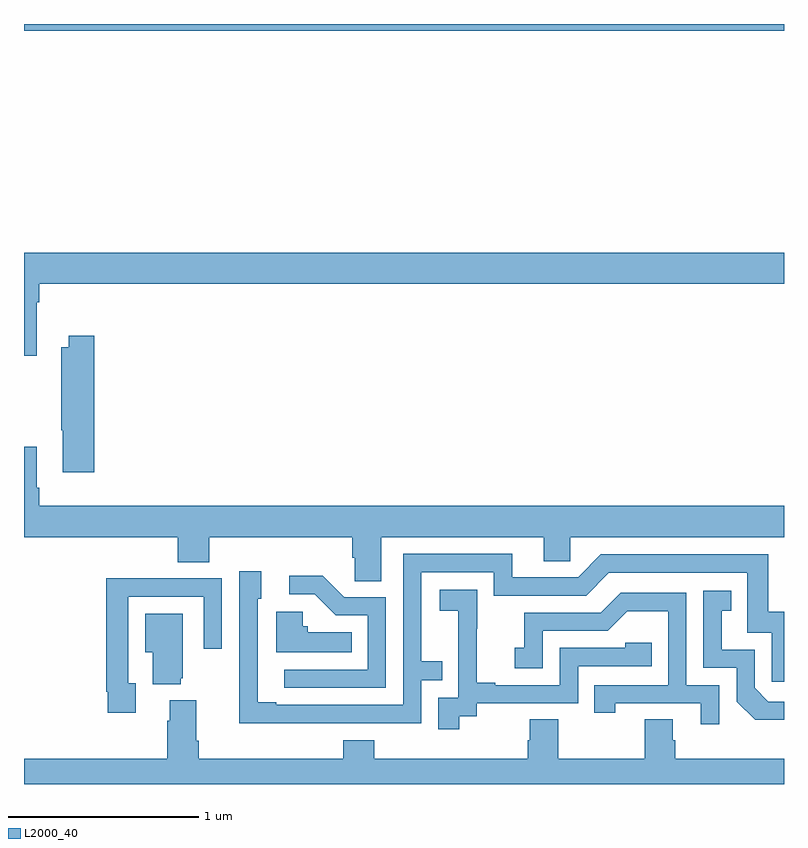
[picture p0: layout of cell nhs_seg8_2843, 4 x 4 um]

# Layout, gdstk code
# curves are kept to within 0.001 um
import gdstk
lib = gdstk.Library(unit=1e-6, precision=1e-09)
def R(c, l, rs):  # rectangles x0, y0, x1, y1
    for r in rs: c.add(gdstk.rectangle(r[:2], r[2:], *l))
def P(c, l, *ps):  # polygons
    for p in ps: c.add(gdstk.Polygon(p, *l))
L2000_40 = (2000, 40)

nhs_seg8_2843 = lib.new_cell('nhs_seg8_2843')
R(nhs_seg8_2843, L2000_40, [(291,1085.864,295,1085.9)])
P(nhs_seg8_2843, L2000_40, [(291.067,1084.436),(291.08,1084.436),(291.08,1084.532),(295,1084.532),(295,1084.696),(291,1084.696),(291,1084.155),(291.067,1084.155)],
  [(291.371,1084.258),(291.236,1084.258),(291.236,1084.198),(291.196,1084.198),(291.196,1083.763),(291.203,1083.763),(291.203,1083.54),(291.371,1083.54)],
  [(292.879,1083.2),(293.735,1083.2),(293.735,1083.073),(293.874,1083.073),(293.874,1083.2),(295,1083.2),(295,1083.364),(291.08,1083.364),(291.08,1083.46),(291.067,1083.46),(291.067,1083.676),(291,1083.676),(291,1083.2),(291.809,1083.2),(291.809,1083.067),(291.974,1083.067),(291.974,1083.2),(292.727,1083.2),(292.727,1083.091),(292.74,1083.091),(292.74,1082.968),(292.879,1082.968)],
  [(292.595,1082.22),(293.091,1082.22),(293.091,1082.445),(293.201,1082.445),(293.201,1082.546),(293.091,1082.546),(293.091,1083.015),(293.472,1083.015),(293.472,1082.892),(293.958,1082.892),(294.078,1083.012),(294.807,1083.012),(294.807,1082.697),(294.936,1082.697),(294.936,1082.439),(295,1082.439),(295,1082.806),(294.916,1082.806),(294.916,1083.108),(294.036,1083.108),(293.916,1082.988),(293.569,1082.988),(293.569,1083.111),(292.995,1083.111),(292.995,1082.316),(292.327,1082.316),(292.327,1082.329),(292.23,1082.329),(292.23,1082.874),(292.249,1082.874),(292.249,1083.019),(292.134,1083.019),(292.134,1082.525),(292.132,1082.525),(292.132,1082.219)],
  [(292.905,1082.883),(292.686,1082.883),(292.573,1082.996),(292.395,1082.996),(292.395,1082.898),(292.529,1082.898),(292.64,1082.787),(292.809,1082.787),(292.809,1082.502),(292.371,1082.502),(292.371,1082.406),(292.905,1082.406)],
  [(291.589,1082.43),(291.549,1082.43),(291.549,1082.886),(291.945,1082.886),(291.945,1082.613),(292.041,1082.613),(292.041,1082.982),(291.725,1082.982),(291.725,1082.984),(291.433,1082.984),(291.433,1082.386),(291.441,1082.386),(291.441,1082.274),(291.589,1082.274)],
  [(293.29,1082.257),(293.382,1082.257),(293.382,1082.325),(293.916,1082.325),(293.916,1082.52),(294.305,1082.52),(294.305,1082.643),(294.165,1082.643),(294.165,1082.616),(293.82,1082.616),(293.82,1082.421),(293.479,1082.421),(293.479,1082.434),(293.384,1082.434),(293.384,1082.717),(293.385,1082.717),(293.385,1082.923),(293.187,1082.923),(293.187,1082.813),(293.285,1082.813),(293.285,1082.585),(293.286,1082.585),(293.286,1082.355),(293.181,1082.355),(293.181,1082.187),(293.29,1082.187)],
  [(295,1082.334),(294.918,1082.334),(294.846,1082.406),(294.846,1082.607),(294.673,1082.607),(294.673,1082.811),(294.722,1082.811),(294.722,1082.917),(294.576,1082.917),(294.576,1082.511),(294.75,1082.511),(294.75,1082.334),(294.848,1082.237),(295,1082.237)],
  [(294.66,1082.421),(294.486,1082.421),(294.486,1082.907),(294.14,1082.907),(294.035,1082.802),(293.632,1082.802),(293.632,1082.617),(293.583,1082.617),(293.583,1082.508),(293.73,1082.508),(293.73,1082.706),(294.072,1082.706),(294.176,1082.81),(294.39,1082.81),(294.39,1082.421),(294.001,1082.421),(294.001,1082.274),(294.112,1082.274),(294.112,1082.325),(294.563,1082.325),(294.563,1082.214),(294.66,1082.214)],
  [(292.724,1082.698),(292.494,1082.698),(292.494,1082.73),(292.467,1082.73),(292.467,1082.806),(292.328,1082.806),(292.328,1082.594),(292.724,1082.594)],
  [(291.824,1082.457),(291.835,1082.457),(291.835,1082.797),(291.638,1082.797),(291.638,1082.594),(291.677,1082.594),(291.677,1082.426),(291.824,1082.426)],
  [(295,1082.032),(294.428,1082.032),(294.428,1082.13),(294.415,1082.13),(294.415,1082.24),(294.268,1082.24),(294.268,1082.032),(293.811,1082.032),(293.811,1082.24),(293.663,1082.24),(293.663,1082.13),(293.651,1082.13),(293.651,1082.032),(292.844,1082.032),(292.844,1082.131),(292.679,1082.131),(292.679,1082.032),(291.92,1082.032),(291.92,1082.128),(291.907,1082.128),(291.907,1082.341),(291.767,1082.341),(291.767,1082.234),(291.755,1082.234),(291.755,1082.032),(291,1082.032),(291,1081.9),(295,1081.9)])

lib.write_gds('nhs_seg8_2843.gds')
